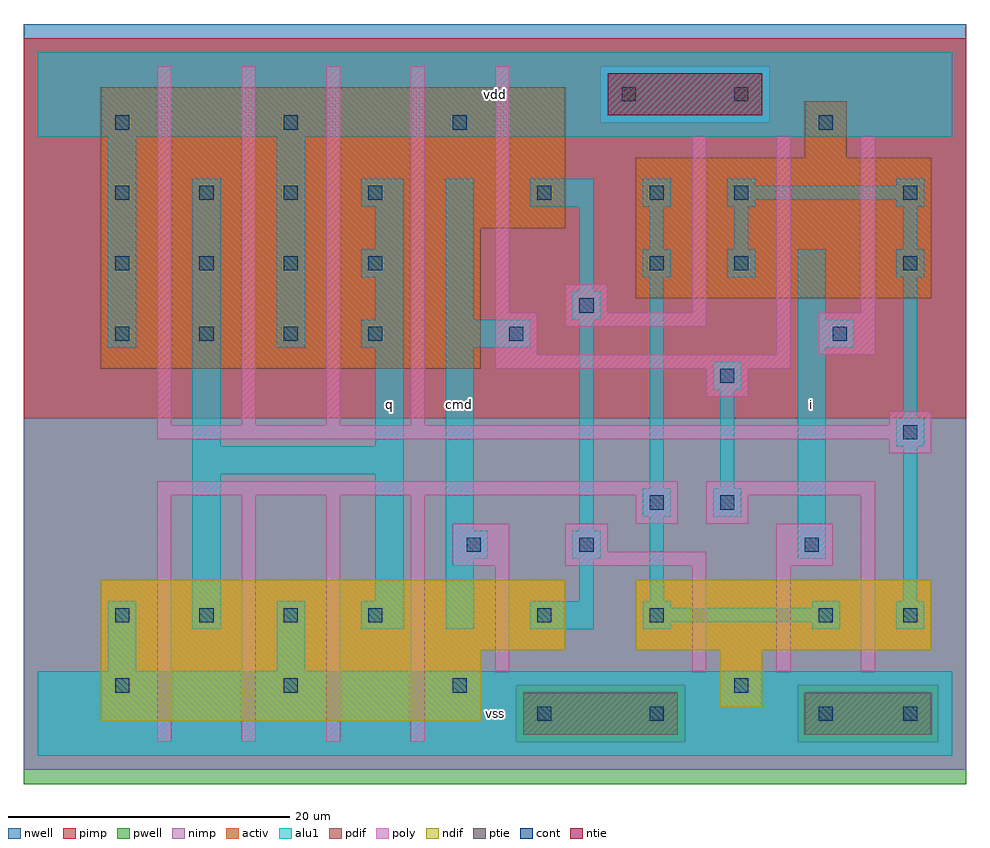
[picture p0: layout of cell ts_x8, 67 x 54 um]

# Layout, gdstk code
import gdstk
lib = gdstk.Library(unit=1e-6, precision=1e-09)
def R(c, l, rs):  # rectangles x0, y0, x1, y1
    for r in rs: c.add(gdstk.rectangle(r[:2], r[2:], *l))
def A(c, l, x, y, w, h, nx, ny, dx, dy):  # array of equal rectangles
    R(c, l, [(x+i*dx, y+j*dy, x+i*dx+w, y+j*dy+h) for i in range(nx) for j in range(ny)])
ndif = (3, 0)
pdif = (4, 0)
ntie = (5, 0)
ptie = (6, 0)
cont = (25, 0)
pwell = (41, 0)
nwell = (42, 0)
activ = (43, 0)
pimp = (44, 0)
nimp = (45, 0)
poly = (46, 0)
alu1 = (49, 0)

ts_x8 = lib.new_cell('ts_x8')
R(ts_x8, ndif, [(4.5,2.5,31.5,7.5), (48.5,3.5,51.5,7.5), (4.5,7.5,37.5,12.5), (42.5,7.5,63.5,12.5)])
R(ts_x8, pdif, [(4.5,27.5,31.5,37.5), (42.5,32.5,63.5,42.5), (4.5,37.5,37.5,47.5), (54.5,42.5,57.5,46.5)])
R(ts_x8, ntie, [(40.5,45.5,51.5,48.5)])
R(ts_x8, ptie, [(34.5,1.5,45.5,4.5), (54.5,1.5,63.5,4.5)])
A(ts_x8, cont, 5.5, 4.5, 1, 1, 3, 2, 12, 40)
A(ts_x8, cont, 5.5, 9.5, 1, 1, 4, 2, 6, 20)
A(ts_x8, cont, 5.5, 34.5, 1, 1, 4, 2, 6, 5)
R(ts_x8, cont, [(35.5,2.5,36.5,3.5), (43.5,2.5,44.5,3.5), (55.5,2.5,56.5,3.5), (61.5,2.5,62.5,3.5), (49.5,4.5,50.5,5.5), (35.5,9.5,36.5,10.5), (43.5,9.5,44.5,10.5), (55.5,9.5,56.5,10.5), (61.5,9.5,62.5,10.5), (30.5,14.5,31.5,15.5), (38.5,14.5,39.5,15.5), (54.5,14.5,55.5,15.5), (43.5,17.5,44.5,18.5), (48.5,17.5,49.5,18.5), (61.5,22.5,62.5,23.5), (48.5,26.5,49.5,27.5), (33.5,29.5,34.5,30.5), (56.5,29.5,57.5,30.5), (38.5,31.5,39.5,32.5), (43.5,34.5,44.5,35.5), (49.5,34.5,50.5,35.5), (61.5,34.5,62.5,35.5), (35.5,39.5,36.5,40.5), (43.5,39.5,44.5,40.5), (49.5,39.5,50.5,40.5), (61.5,39.5,62.5,40.5), (55.5,44.5,56.5,45.5), (41.5,46.5,42.5,47.5), (49.5,46.5,50.5,47.5)])
R(ts_x8, pwell, [(-1,-2,66,24)])
R(ts_x8, nwell, [(-1,24,66,52)])
R(ts_x8, activ, [(34.5,1.5,45.5,4.5), (54.5,1.5,63.5,4.5), (4.5,2.5,31.5,7.5), (48.5,3.5,51.5,7.5), (4.5,7.5,37.5,12.5), (42.5,7.5,63.5,12.5), (4.5,27.5,31.5,37.5), (42.5,32.5,63.5,42.5), (4.5,37.5,37.5,47.5), (54.5,42.5,57.5,46.5), (40.5,45.5,51.5,48.5)])
R(ts_x8, pimp, [(34,1,46,5), (54,1,64,5), (-1,24,66,45), (-1,45,40,49), (52,45,66,49), (-1,49,66,51)])
R(ts_x8, nimp, [(-1,-1,66,1), (-1,1,34,5), (46,1,54,5), (64,1,66,5), (-1,5,66,24), (40,45,52,49)])
A(ts_x8, poly, 8.5, 1, 1, 17.5, 4, 1, 6, 0)
A(ts_x8, poly, 8.5, 23.5, 1, 25.5, 4, 1, 6, 0)
R(ts_x8, poly, [(32.5,6,33.5,13.5), (46.5,6,47.5,13.5), (52.5,6,53.5,13.5), (58.5,6,59.5,18.5), (29.5,13.5,33.5,16.5), (37.5,13.5,47.5,14.5), (52.5,13.5,56.5,16.5), (37.5,14.5,40.5,16.5), (42.5,16.5,45.5,18.5), (47.5,16.5,50.5,18.5), (8.5,18.5,45.5,19.5), (47.5,18.5,59.5,19.5), (60.5,21.5,63.5,22.5), (8.5,22.5,63.5,23.5), (60.5,23.5,63.5,24.5), (47.5,25.5,50.5,27.5), (32.5,27.5,53.5,28.5), (32.5,28.5,35.5,31.5), (52.5,28.5,53.5,44), (55.5,28.5,59.5,31.5), (37.5,30.5,47.5,31.5), (32.5,31.5,33.5,49), (37.5,31.5,40.5,33.5), (46.5,31.5,47.5,44), (58.5,31.5,59.5,44)])
A(ts_x8, alu1, 23, 29, 3, 2, 1, 3, 0, 5)
R(ts_x8, alu1, [(0,0,65,6), (5,6,7,11), (17,6,19,11), (11,9,13,20), (23,9,26,11), (29,9,31,14), (35,9,39.5,11), (43,9,45,9.5), (55,9,57,9.5), (61,9,63,11), (43,9.5,57,10.5), (43,10.5,45,11), (55,10.5,57,11), (24,11,26,20), (38.5,11,39.5,14), (43.5,11,44.5,17), (61.5,11,62.5,22), (29,14,32,16), (38,14,40,16), (54,14,56,29), (29,16,31,29), (38.5,16,39.5,31), (43,17,45,19), (48,17,50,19), (43.5,19,44.5,34), (48.5,19,49.5,26), (11,20,26,22), (11,22,13,41), (24,22,26,29), (61,22,63,24), (61.5,24,62.5,34), (48,26,50,28), (5,29,7,44), (17,29,19,44), (29,29,35,31), (54,29,58,31), (24,31,26,34), (29,31,31,41), (38,31,40,33), (54,31,56,36), (38.5,33,39.5,39), (43,34,45,36), (49,34,51,36), (61,34,63,36), (24,36,26,39), (43.5,36,44.5,39), (49.5,36,50.5,39), (61.5,36,62.5,39), (35,39,39.5,41), (43,39,45,41), (49,39,51,39.5), (61,39,63,39.5), (49,39.5,63,40.5), (49,40.5,51,41), (61,40.5,63,41), (0,44,65,50)])
ts_x8.add(gdstk.Label('vss', (32.5,3), layer=49, texttype=0))
ts_x8.add(gdstk.Label('q', (25,25), layer=49, texttype=0))
ts_x8.add(gdstk.Label('cmd', (30,25), layer=49, texttype=0))
ts_x8.add(gdstk.Label('vdd', (32.5,47), layer=49, texttype=0))
ts_x8.add(gdstk.Label('i', (55,25), layer=49, texttype=0))

lib.write_gds('ts_x8.gds')
